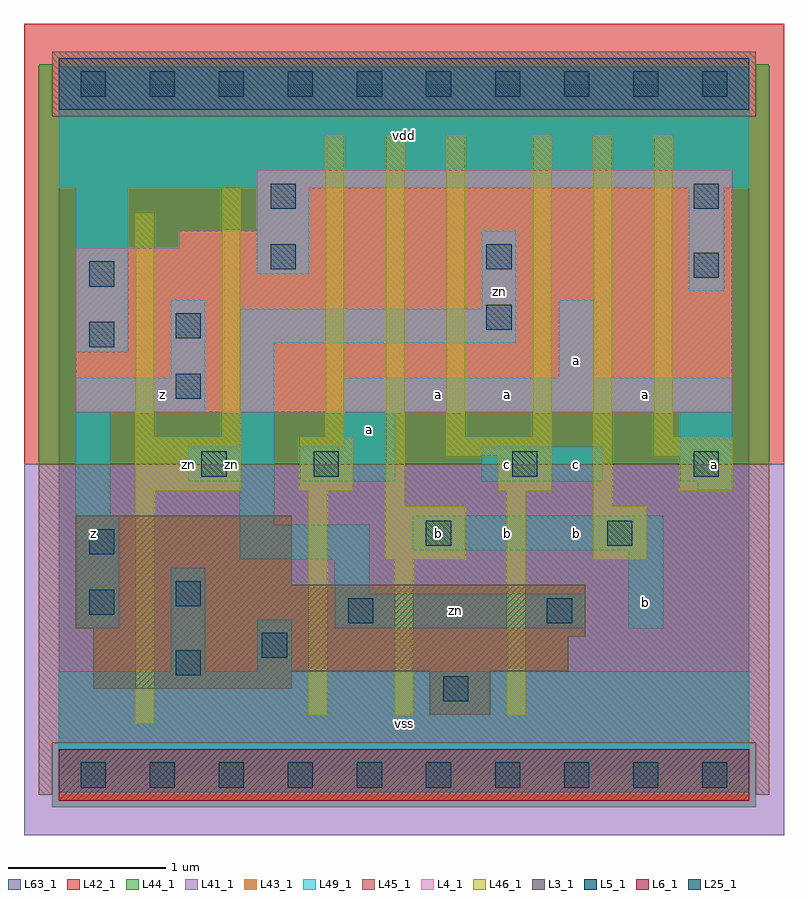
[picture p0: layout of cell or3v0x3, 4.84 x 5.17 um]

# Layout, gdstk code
import gdstk
lib = gdstk.Library(unit=1e-6, precision=1e-09)
def R(c, l, rs):  # rectangles x0, y0, x1, y1
    for r in rs: c.add(gdstk.rectangle(r[:2], r[2:], *l))
def A(c, l, x, y, w, h, nx, ny, dx, dy):  # array of equal rectangles
    R(c, l, [(x+i*dx, y+j*dy, x+i*dx+w, y+j*dy+h) for i in range(nx) for j in range(ny)])
L3_1 = (3, 1)
L4_1 = (4, 1)
L5_1 = (5, 1)
L6_1 = (6, 1)
L25_1 = (25, 1)
L41_1 = (41, 1)
L42_1 = (42, 1)
L43_1 = (43, 1)
L44_1 = (44, 1)
L45_1 = (45, 1)
L46_1 = (46, 1)
L49_1 = (49, 1)
L63_1 = (63, 1)

or3v0x3 = lib.new_cell('or3v0x3')
R(or3v0x3, L3_1, [(2.365,0.385,2.75,0.66), (0.22,0.55,1.485,0.66), (0.22,0.66,3.245,0.88), (0.22,0.88,3.355,0.935), (0.11,0.935,3.355,1.21), (0.11,1.21,1.485,1.65)])
R(or3v0x3, L4_1, [(0.11,2.31,4.29,3.355), (0.77,3.355,4.29,3.465), (1.265,3.465,4.29,3.85)])
R(or3v0x3, L5_1, [(0,4.235,4.4,4.565)])
R(or3v0x3, L6_1, [(0,-0.165,4.4,0.165)])
A(or3v0x3, L25_1, 0.14, -0.08, 0.16, 0.16, 10, 2, 0.44, 4.4)
R(or3v0x3, L25_1, [(2.45,0.47,2.61,0.63), (0.745,0.635,0.905,0.795), (1.295,0.745,1.455,0.905), (1.845,0.965,2.005,1.125), (3.11,0.965,3.27,1.125), (0.195,1.02,0.355,1.18), (0.745,1.075,0.905,1.235), (0.195,1.405,0.355,1.565), (2.34,1.46,2.5,1.62), (3.495,1.46,3.655,1.62), (0.91,1.9,1.07,2.06), (1.625,1.9,1.785,2.06), (2.89,1.9,3.05,2.06), (4.045,1.9,4.205,2.06), (0.745,2.395,0.905,2.555), (0.195,2.725,0.355,2.885), (0.745,2.78,0.905,2.94), (2.725,2.835,2.885,2.995), (0.195,3.11,0.355,3.27), (4.045,3.165,4.205,3.325), (1.35,3.22,1.51,3.38), (2.725,3.22,2.885,3.38), (1.35,3.605,1.51,3.765), (4.045,3.605,4.205,3.765)])
R(or3v0x3, L41_1, [(-0.22,-0.385,4.62,1.98)])
R(or3v0x3, L42_1, [(-0.22,1.98,4.62,4.785)])
R(or3v0x3, L43_1, [(0,-0.165,4.4,0.165), (2.365,0.385,2.75,0.66), (0.22,0.55,1.485,0.66), (0.22,0.66,3.245,0.88), (0.22,0.88,3.355,0.935), (0.11,0.935,3.355,1.21), (0.11,1.21,1.485,1.65), (0.11,2.31,4.29,3.355), (0.77,3.355,4.29,3.465), (1.265,3.465,4.29,3.85), (0,4.235,4.4,4.565)])
R(or3v0x3, L44_1, [(-0.04,-0.205,4.44,0.205), (-0.125,1.98,4.525,4.195), (-0.125,4.195,-0.04,4.525), (4.44,4.195,4.525,4.525)])
R(or3v0x3, L45_1, [(-0.125,-0.125,-0.04,0.205), (4.44,-0.125,4.525,0.205), (-0.125,0.205,4.525,1.98), (-0.04,4.195,4.44,4.605)])
R(or3v0x3, L46_1, [(0.49,0.325,0.61,1.81), (1.59,0.38,1.71,1.81), (2.14,0.38,2.26,1.37), (2.855,0.38,2.975,1.81), (2.085,1.37,2.59,1.71), (3.405,1.37,3.745,1.71), (2.085,1.71,2.205,4.075), (3.405,1.71,3.525,4.075), (0.49,1.81,1.16,2.15), (1.535,1.81,1.875,2.15), (2.8,1.81,3.14,2.03), (3.955,1.81,4.295,2.03), (2.47,2.03,3.14,2.15), (3.79,2.03,4.295,2.15), (0.49,2.15,0.61,3.58), (1.04,2.15,1.16,3.745), (1.7,2.15,1.82,4.075), (2.47,2.15,2.59,4.075), (3.02,2.15,3.14,4.075), (3.79,2.15,3.91,4.075)])
R(or3v0x3, L49_1, [(0,-0.11,4.4,0.66), (0.715,0.66,0.935,1.32), (1.265,0.66,1.485,0.99), (0.11,0.935,0.385,1.65), (1.76,0.935,3.355,1.155), (3.63,0.935,3.85,1.43), (1.76,1.155,1.98,1.375), (1.155,1.375,1.98,1.595), (2.255,1.43,3.85,1.65), (1.155,1.595,1.375,1.87), (0.11,1.65,0.33,2.31), (4.07,1.815,4.29,1.87), (0.825,1.87,1.375,2.09), (1.54,1.87,2.145,2.09), (2.695,1.87,3.465,2.09), (3.96,1.87,4.29,2.31), (1.155,2.09,1.375,2.75), (1.815,2.09,2.145,2.31), (0.11,2.31,0.935,2.53), (1.815,2.31,4.29,2.53), (0.715,2.53,0.935,3.025), (3.19,2.53,3.41,3.025), (0.11,2.695,0.44,3.74), (1.155,2.75,2.915,2.97), (2.695,2.97,2.915,3.465), (4.015,3.08,4.235,3.74), (1.265,3.19,1.595,3.74), (0,3.74,4.4,4.51)])
R(or3v0x3, L63_1, [(0,0,4.4,4.4)])
or3v0x3.add(gdstk.Label('zn', (0.825,1.98), layer=46, texttype=1))
or3v0x3.add(gdstk.Label('z', (0.22,1.54), layer=49, texttype=1))
or3v0x3.add(gdstk.Label('z', (0.66,2.42), layer=49, texttype=1))
or3v0x3.add(gdstk.Label('zn', (1.1,1.98), layer=49, texttype=1))
or3v0x3.add(gdstk.Label('vss', (2.2,0.33), layer=49, texttype=1))
or3v0x3.add(gdstk.Label('b', (2.42,1.54), layer=49, texttype=1))
or3v0x3.add(gdstk.Label('a', (2.42,2.42), layer=49, texttype=1))
or3v0x3.add(gdstk.Label('a', (1.98,2.2), layer=49, texttype=1))
or3v0x3.add(gdstk.Label('vdd', (2.2,4.07), layer=49, texttype=1))
or3v0x3.add(gdstk.Label('b', (2.86,1.54), layer=49, texttype=1))
or3v0x3.add(gdstk.Label('zn', (2.53,1.045), layer=49, texttype=1))
or3v0x3.add(gdstk.Label('b', (3.3,1.54), layer=49, texttype=1))
or3v0x3.add(gdstk.Label('c', (2.86,1.98), layer=49, texttype=1))
or3v0x3.add(gdstk.Label('a', (2.86,2.42), layer=49, texttype=1))
or3v0x3.add(gdstk.Label('c', (3.3,1.98), layer=49, texttype=1))
or3v0x3.add(gdstk.Label('a', (3.3,2.64), layer=49, texttype=1))
or3v0x3.add(gdstk.Label('zn', (2.805,3.08), layer=49, texttype=1))
or3v0x3.add(gdstk.Label('b', (3.74,1.1), layer=49, texttype=1))
or3v0x3.add(gdstk.Label('a', (3.74,2.42), layer=49, texttype=1))
or3v0x3.add(gdstk.Label('a', (4.18,1.98), layer=49, texttype=1))

lib.write_gds('or3v0x3.gds')
